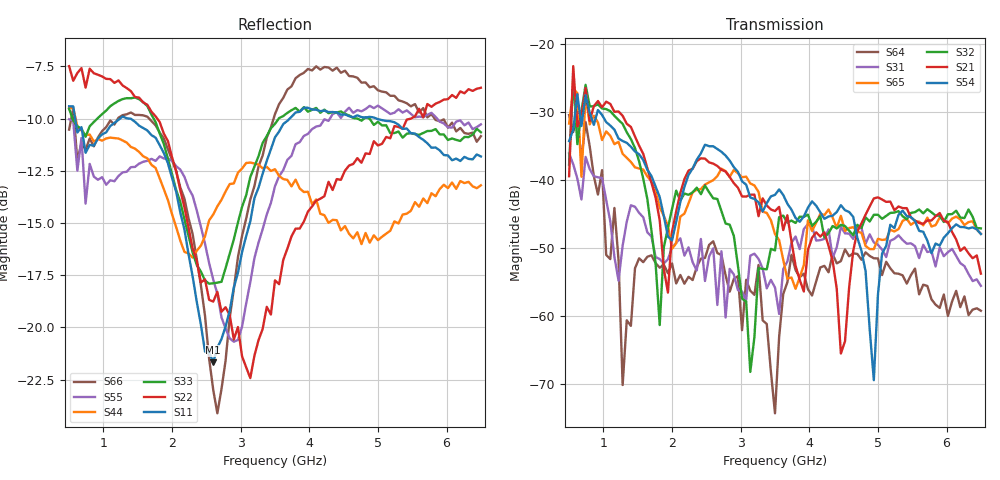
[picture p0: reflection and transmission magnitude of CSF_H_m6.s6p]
!Keysight Technologies,M9804A,MY58100912,A.14.10.03
!Date: Thursday, April 27, 2023 10:28:33
!Correction: S11(C  6-Port  )
!S12(C  6-Port  )
!S13(C  6-Port  )
!S14(C  6-Port  )
!S15(C  6-Port  )
!S16(C  6-Port  )
!S21(C  6-Port  )
!S22(C  6-Port  )
!S23(C  6-Port  )
!S24(C  6-Port  )
!S25(C  6-Port  )
!S26(C  6-Port  )
!S31(C  6-Port  )
!S32(C  6-Port  )
!S33(C  6-Port  )
!S34(C  6-Port  )
!S35(C  6-Port  )
!S36(C  6-Port  )
!S41(C  6-Port  )
!S42(C  6-Port  )
!S43(C  6-Port  )
!S44(C  6-Port  )
!S45(C  6-Port  )
!S46(C  6-Port  )
!S51(C  6-Port  )
!S52(C  6-Port  )
!S53(C  6-Port  )
!S54(C  6-Port  )
!S55(C  6-Port  )
!S56(C  6-Port  )
!S61(C  6-Port  )
!S62(C  6-Port  )
!S63(C  6-Port  )
!S64(C  6-Port  )
!S65(C  6-Port  )
!S66(C  6-Port  )
!S6P File: Measurement: :
# Hz S  RI  R 50
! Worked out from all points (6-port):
!   101 points, 500 MHz to 6.5 GHz, reference 50 ohm
!   strongest paths, dB at 500 MHz, 2 GHz, 3.5 GHz, 5 GHz, 6.5 GHz:
!     S54: -34.2, -48.8, -42.1, -56.8, -47.9
!     S21: -39.4, -47.6, -44.5, -42.5, -53.7
!     S32: -37.7, -44.2, -50.3, -45.1, -47.1
!     S65: -31.7, -50.1, -47.9, -48.6, -47.9
!     S31: -36.0, -49.9, -55.8, -49.5, -55.5
!     S64: -30.4, -52.2, -74.3, -51.5, -59.2
!   lowest |S11| = -21.7 dB at 2.6 GHz (marker M1), VSWR 1.18, Z = 42.6 + j2.01 ohm
!   |S11| at or under -10 dB: 587.9 MHz to 1.242 GHz (654 MHz wide, 71.5 % of centre); 1.373 GHz to 3.714 GHz (2.341 GHz wide, 92 % of centre); 4.978 GHz to end of sweep
